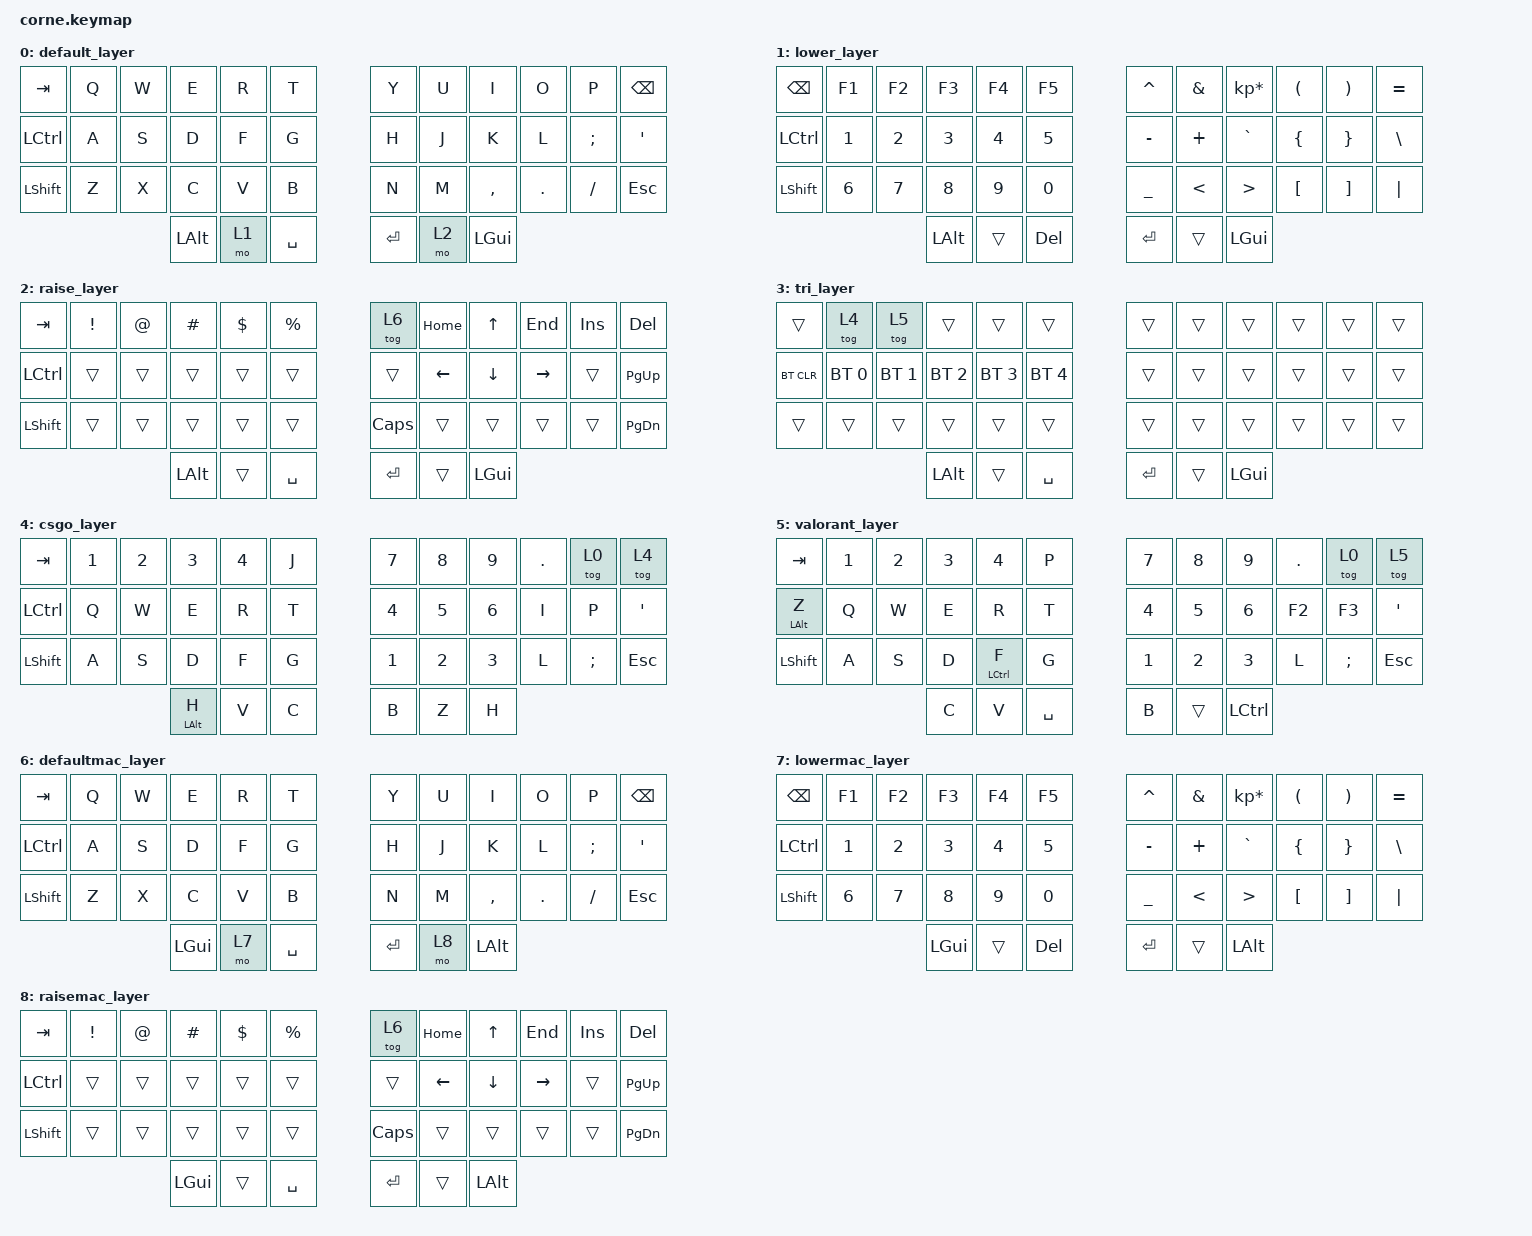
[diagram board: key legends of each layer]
/*
 * Copyright (c) 2020 The ZMK Contributors
 *
 * SPDX-License-Identifier: MIT
 */

#include <behaviors.dtsi>
#include <dt-bindings/zmk/keys.h>
#include <dt-bindings/zmk/bt.h>
#include <dt-bindings/zmk/ext_power.h>

//#define DEFAULT 0
//#define LOWER 1
//#define RAISE 2
//#define TRI 3
//#define CS 4
//#define VALORANT 5


/* flashing new u2f refer here https://github.com/superxc3/xcmkb/tree/main/list%20of%20items/list%20of%20keyboards/60percent/sofle/sofle%20zmk#part-b-flash-zmk
 * macro refer to this link https://github.com/superxc3/xcmkb/blob/main/list%20of%20guide/zmk-setup.md#zmk-macro
 * reserve
 * reserve
 */

/ {
        conditional_layers {
            compatible = "zmk,conditional-layers";
            tri_layer {
                if-layers = <1 2>;
                then-layer = <3>;
            };
//           trimac_layer {
//                if-layers = <7 8>;
//                then-layer = <9>;
//            };
        };
        
        
        keymap {
                compatible = "zmk,keymap";


// LAYER 0 - WINDOWS ____________________________________________________________________________________________________________________________
                default_layer {
                    bindings = <
//  _______________________________________________________________      ________________________________________________________________
// |    TAB   |    Q     |    W     |    E     |    R    |    T    |    |    Y    |    U     |    I     |    O     |    P     |    BKSP  |
    &kp TAB    &kp Q      &kp W      &kp E      &kp R     &kp T          &kp Y     &kp U      &kp I      &kp O      &kp P      &kp BSPC
// |_______________________________________________________________      ________________________________________________________________|    
// |    CTRL  |    A     |    S     |    D     |    F    |    G    |    |    H    |    J     |    K     |    L     |    ;     |    '     |
    &kp LCTRL  &kp A      &kp S      &kp D      &kp F     &kp G          &kp H     &kp J      &kp K      &kp L      &kp SEMI   &kp SQT
// |_______________________________________________________________      ________________________________________________________________| 
// |    SHFT  |    Z     |    X     |    C     |    V    |    B    |    |    N    |    M     |    ,     |    .     |    /     |    ESC   |
    &kp LSHFT  &kp Z      &kp X      &kp C      &kp V     &kp B          &kp N     &kp M      &kp COMMA  &kp DOT    &kp FSLH   &kp ESC
// |_______________________________________________________________      ________________________________________________________________|
//                                  |    ALT   |  LOWER  |  SPACE  |    |  ENTER  |   RAISE  |    GUI   |
                                     &kp LALT   &mo 1     &kp SPACE      &kp RET   &mo 2      &kp LGUI
//                                  |__________|_________|_________|    |_________|__________|__________|
                    >;
                };
                


 // LAYER 1 - WINDOWS ____________________________________________________________________________________________________________________________
                lower_layer {
                    bindings = <
//  _______________________________________________________________     __________________________________________________________________________
// |   BKSP   |    F1    |    F2    |    F3    |    F4   |    F5   |    |    ^      |    &    |    *          |    (       |    )      |    =     |
    &kp BSPC   &kp F1     &kp F2     &kp F3     &kp F4    &kp F5         &kp CARET   &kp AMPS  &kp KP_MULTIPLY &kp LPAR     &kp RPAR    &kp EQUAL
//  _______________________________________________________________     __________________________________________________________________________|    
// |    CTRL  |    1     |    2     |    3     |    4    |    5    |    |    -      |    +    |    `          |    {       |    }      |    \     |
    &kp LCTRL  &kp N1     &kp N2     &kp N3     &kp N4    &kp N5         &kp MINUS   &kp PLUS  &kp GRAVE       &kp LBRC     &kp RBRC    &kp BSLH
//  _______________________________________________________________     __________________________________________________________________________|      
// |    SHFT  |    6     |    7     |    8     |    9    |    0    |    |    _      |    <    |    >          |    [       |    ]      |   "|"    |
    &kp LSHFT  &kp N6     &kp N7     &kp N8     &kp N9    &kp N0         &kp UNDER   &kp LT    &kp GT          &kp LBKT     &kp RBKT    &kp PIPE
//  _______________________________________________________________     __________________________________________________________________________|    
//                                  |    ALT   |         |    DEL  |    |   ENTER   |         |    GUI        |
                                     &kp LALT   &trans    &kp DELETE     &kp RET     &trans    &kp LGUI
//                                  |_________ |_________|_________|    |___________|_________|_______________|
                        >;
                };


// LAYER 2 - WINDOWS ____________________________________________________________________________________________________________________________
                raise_layer {
                    bindings = <
//  _______________________________________________________________      _______________________________________________________________________________
// |    TAB   |    !     |    @     |    #     |    $    |    %    |    |    MACOS   |    HOME    |    UP       |    END      |    INS    |    DEL      |
    &kp TAB    &kp EXCL   &kp AT     &kp HASH   &kp DLLR  &kp PRCNT      &tog 6       &kp HOME       &kp UP      &kp END       &kp INSERT    &kp DELETE
//  _______________________________________________________________      _______________________________________________________________________________   
// |    CTRL  |          |          |          |         |         |    |            |  LFT       |    DWN      |    RGT      |           |    PG_UP    |
    &kp LCTRL  &trans     &trans     &trans     &trans    &trans         &trans       &kp LEFT     &kp DOWN      &kp RIGHT     &trans      &kp PAGE_UP
//  _______________________________________________________________      _______________________________________________________________________________      
// |    SHFT  |          |          |          |         |         |    | CAP        |            |             |             |           |    PG_DWN   |
    &kp LSHFT  &trans     &trans     &trans     &trans    &trans         &kp CAPSLOCK &trans       &trans        &trans        &trans      &kp PAGE_DOWN
//  _______________________________________________________________      _______________________________________________________________________________|       
//                                  | ALT      |         |    SPC  |    |   ENTER    |            |    GUI      |
                    	             &kp LALT   &trans    &kp SPACE      &kp RET      &trans       &kp LGUI
//                                  |_________ |_________|_________|    |____________|____________|_____________|
                        >;
                };
                
 
// LAYER 3 - WINDOWS ____________________________________________________________________________________________________________________________
                tri_layer {
                    bindings = <
//  _________________________________________________________________________________________      ___________________________________________________________________________
// |                |       CS       |     VALO     |             |             |            |    |            |            |              |          |           |           |
    &trans           &tog 4           &tog 5         &trans        &trans        &trans            &trans       &trans       &trans         &trans     &trans      &trans
//  _________________________________________________________________________________________      ___________________________________________________________________________
// |    BTCLR       |    BT1         |    BT2       |    BT3      |    BT4      | BT5        |    |            |            |              |          |           |           |  
    &bt BT_CLR       &bt BT_SEL 0     &bt BT_SEL 1   &bt BT_SEL 2  &bt BT_SEL 3  &bt BT_SEL 4      &trans       &trans      &trans         &trans     &trans      &trans
//  _________________________________________________________________________________________      ___________________________________________________________________________  
// |                |                |              |             |             |            |    |            |            |              |          |           |           |
    &trans           &trans           &trans         &trans        &trans        &trans            &trans       &trans       &trans        &trans     &trans      &trans
//  _________________________________________________________________________________________      ___________________________________________________________________________|
//                                                  |    ALT      |             | SPC        |    |            |            | GUI          |   
                    	                             &kp LALT      &trans        &kp SPACE         &kp RET      &trans       &kp LGUI
//                                                  |_____________|_____________|____________|    |____________|____________|______________|
                        >;
                };
                

// LAYER 4 ____________________________________________________________________________________________________________________________
                csgo_layer {
                    bindings = <

//  _______________________________________________________________      ________________________________________________________________
// |SCOREBOARD|    1     |    2     |    3     |    4    | C4 DROP |    |    7    |    8     |    9     |    .     | DFLT LYR |    CS    |
// |    TAB   |    1     |    2     |    3     |    4    |    J    |    |    7    |    8     |    9     |    .     | DFLT LYR |    CS    |
    &kp TAB    &kp N1     &kp N2     &kp N3     &kp N4    &kp J          &kp N7    &kp N8     &kp N9     &kp DOT    &tog 0     &tog 4
//  _______________________________________________________________      ________________________________________________________________
// |    MAP   | PRVS WPN |    UP    |   USE    | RELOAD  |JUMPTHROW|    |    4    |    5     |    6     | INVENTORY|    P     | CONSOLE  |
// |    CTRL  |    Q     |    W     |    E     |    R    |    T    |    |    4    |    5     |    6     |    I     |    P     |     '    |
    &kp LCTRL  &kp Q      &kp W      &kp E      &kp R     &kp T          &kp N4    &kp N5     &kp N6     &kp I      &kp P      &kp SQT
// |_______________________________________________________________      ________________________________________________________________|    
// |    WALK  |  LEFT    |  DOWN    |  RIGHT   |  FLASH  |  THROW  |    |    1    |    2     |    3     |    L     |    ;     |   ESC    |
// |    SHFT  |    A     |    S     |    D     |    F    |    G    |    |    1    |    2     |    3     |    L     |    ;     |   ESC    |
    &kp LSHFT  &kp A      &kp S      &kp D      &kp F     &kp G          &kp N1    &kp N2     &kp N3     &kp L      &kp SEMI   &kp ESC
// |_______________________________________________________________      ________________________________________________________________|
//                                  |SMOKE/DECOY|  CROUCH |   MIC   |    |   BUY   |   COMM   |  DECOY   |
//                                  |  H/LALT   |    V    |    C    |    |   BUY   |    Z     |    H     |
                                     &mt LALT H  &kp V     &kp C          &kp B     &kp Z      &kp H
//                                  |___________|_________|_________|    |_________|__________|__________|
                    >;
                };
                
 
// LAYER 5 ____________________________________________________________________________________________________________________________
                valorant_layer {
                    bindings = <
//  _______________________________________________________________      ________________________________________________________________
// |SCOREBOARD|    1     |    2     |    3     |    4    |RADIO CMD|    |    7    |    8     |    9     |    .     | DFLT LYR | VALO LYR |
// |    TAB   |    1     |    2     |    3     |    4    |    P    |    |    7    |    8     |    9     |    .     | DFLT LYR |   VALO   |
    &kp TAB    &kp N1     &kp N2     &kp N3     &kp N4    &kp P          &kp N7    &kp N8     &kp N9     &kp DOT    &tog 0     &tog 5
//  _______________________________________________________________      ________________________________________________________________
// | MAP/ZOOM | PRVS WPN |    UP    |   USE    | RELOAD  |   ULTI  |    |    4    |    5     |    6     |    F2    |    F3    | CONSOLE  |
// |  LALT/Z  |    Q     |    W     |    E     |    R    |    T    |    |    4    |    5     |    6     |    F2    |    F3    |     '    |
    &mt LALT Z &kp Q      &kp W      &kp E      &kp R     &kp T          &kp N4    &kp N5     &kp N6     &kp F2     &kp F3      &kp SQT
// |_______________________________________________________________      ________________________________________________________________|    
// |    WALK  |  LEFT    |  DOWN    |  RIGHT   |JUMP/PING|  THROW  |    |    1    |    2     |    3     |    L     |    ;     |   ESC    |
// |    SHFT  |    A     |    S     |    D     | LCTRL/F |    G    |    |    1    |    2     |    3     |    L     |    ;     |   ESC    |
    &kp LSHFT  &kp A      &kp S      &kp D      &mt LCTRL F &kp G        &kp N1    &kp N2     &kp N3     &kp L      &kp SEMI   &kp ESC
// |_______________________________________________________________      ________________________________________________________________|
//                                  |  SKILL1  |  CROUCH |   MIC   |    |   BUY   |          |          |
//                                  |    C     |    V    |  SPACE  |    |   BUY   |          |          |
                                     &kp C      &kp V     &kp SPACE      &kp B     &trans     &kp LCTRL
//                                  |__________|_________|_________|    |_________|__________|__________|
                    >;
                };
                
                
// LAYER 6 - MACOS____________________________________________________________________________________________________________________________
                defaultmac_layer {
                    bindings = <
//  _______________________________________________________________      ________________________________________________________________
// |    TAB   |    Q     |    W     |    E     |    R    |    T    |    |    Y    |    U     |    I     |    O     |    P     |    BKSP  |
    &kp TAB    &kp Q      &kp W      &kp E      &kp R     &kp T          &kp Y     &kp U      &kp I      &kp O      &kp P      &kp BSPC
// |_______________________________________________________________      ________________________________________________________________|    
// |    CTRL  |    A     |    S     |    D     |    F    |    G    |    |    H    |    J     |    K     |    L     |    ;     |    '     |
    &kp LCTRL  &kp A      &kp S      &kp D      &kp F     &kp G          &kp H     &kp J      &kp K      &kp L      &kp SEMI   &kp SQT
// |_______________________________________________________________      ________________________________________________________________| 
// |    SHFT  |    Z     |    X     |    C     |    V    |    B    |    |    N    |    M     |    ,     |    .     |    /     |    ESC   |
    &kp LSHFT  &kp Z      &kp X      &kp C      &kp V     &kp B          &kp N     &kp M      &kp COMMA  &kp DOT    &kp FSLH   &kp ESC
// |_______________________________________________________________      ________________________________________________________________|
//                                  |    GUI   |  LOWER  |  SPACE  |    |  ENTER  |   RAISE  |    ALT   |
                                     &kp LGUI   &mo 7     &kp SPACE      &kp RET   &mo 8      &kp LALT
//                                  |__________|_________|_________|    |_________|__________|__________|
                    >;
                };
                


// LAYER 7 - MACOS ____________________________________________________________________________________________________________________________
                lowermac_layer {
                    bindings = <
//  _______________________________________________________________     __________________________________________________________________________
// |   BKSP   |    F1    |    F2    |    F3    |    F4   |    F5   |    |    ^      |    &    |    *          |    (       |    )      |    =     |
    &kp BSPC   &kp F1     &kp F2     &kp F3     &kp F4    &kp F5         &kp CARET   &kp AMPS  &kp KP_MULTIPLY &kp LPAR     &kp RPAR    &kp EQUAL
//  _______________________________________________________________     __________________________________________________________________________|    
// |    CTRL  |    1     |    2     |    3     |    4    |    5    |    |    -      |    +    |    `          |    {       |    }      |    \     |
    &kp LCTRL  &kp N1     &kp N2     &kp N3     &kp N4    &kp N5         &kp MINUS   &kp PLUS  &kp GRAVE       &kp LBRC     &kp RBRC    &kp BSLH
//  _______________________________________________________________     __________________________________________________________________________|      
// |    SHFT  |    6     |    7     |    8     |    9    |    0    |    |    _      |    <    |    >          |    [       |    ]      |   "|"    |
    &kp LSHFT  &kp N6     &kp N7     &kp N8     &kp N9    &kp N0         &kp UNDER   &kp LT    &kp GT          &kp LBKT     &kp RBKT    &kp PIPE
//  _______________________________________________________________     __________________________________________________________________________|    
//                                  |    GUI   |         |    DEL  |    |   ENTER   |         |    ALT        |
                                     &kp LGUI   &trans    &kp DELETE     &kp RET     &trans    &kp LALT
//                                  |_________ |_________|_________|    |___________|_________|_______________|
                        >;
                };


// LAYER 8 - MACOS ____________________________________________________________________________________________________________________________
                raisemac_layer {
                   bindings = <
//  _______________________________________________________________      _______________________________________________________________________________
// |    TAB   |    !     |    @     |    #     |    $    |    %    |    |   WINDOWS  |    HOME    |    UP       |    END      |    INS    |    DEL      |
    &kp TAB    &kp EXCL   &kp AT     &kp HASH   &kp DLLR  &kp PRCNT      &tog 6       &kp HOME     &kp UP        &kp END       &kp INSERT  &kp DELETE
//  _______________________________________________________________      _______________________________________________________________________________   
// |    CTRL  |          |          |          |         |         |    |            |  LFT       |    DWN      |    RGT      |           |    PG_UP    |
    &kp LCTRL  &trans     &trans     &trans     &trans    &trans         &trans       &kp LEFT     &kp DOWN      &kp RIGHT     &trans      &kp PAGE_UP
//  _______________________________________________________________      _______________________________________________________________________________      
// |    SHFT  |          |          |          |         |         |    | CAP        |            |             |             |           |    PG_DWN   |
    &kp LSHFT  &trans     &trans     &trans     &trans    &trans         &kp CAPSLOCK &trans       &trans        &trans        &trans      &kp PAGE_DOWN
//  _______________________________________________________________      _______________________________________________________________________________|       
//                                  |    GUI   |         |    SPC  |    |   ENTER    |            |    ALT      |
                    	             &kp LGUI   &trans    &kp SPACE      &kp RET      &trans       &kp LALT
//                                  |_________ |_________|_________|    |____________|____________|_____________|
                       >;
                };
                

        };
};
